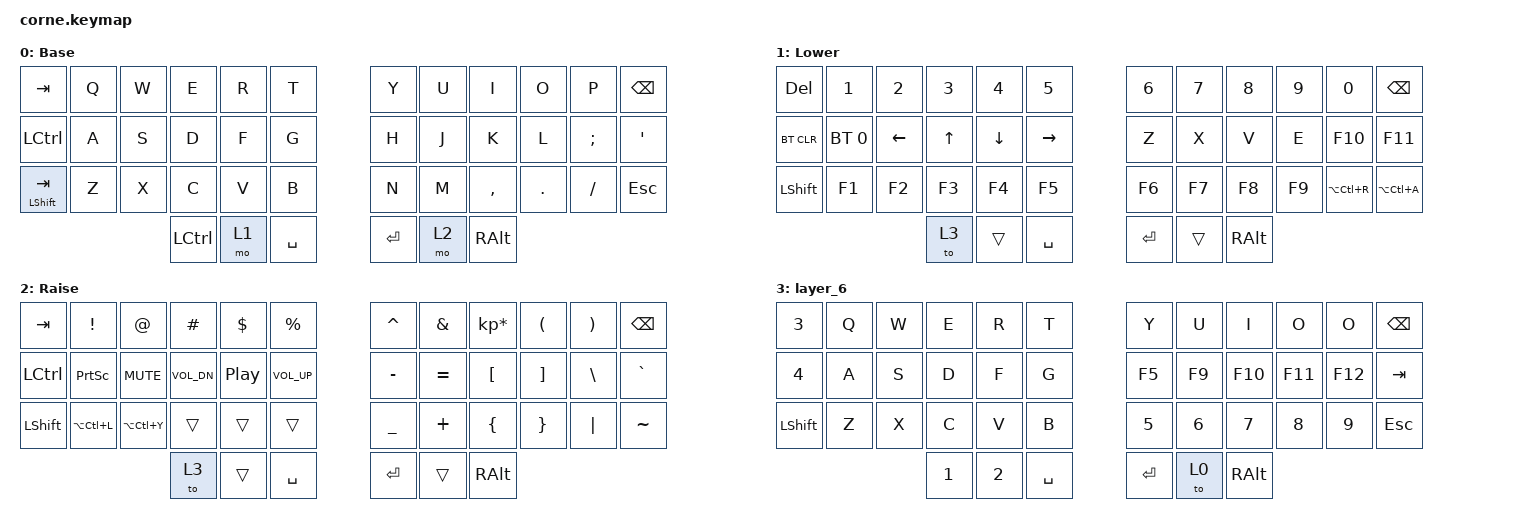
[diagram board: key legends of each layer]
/*
 * Copyright (c) 2020 The ZMK Contributors
 *
 * SPDX-License-Identifier: MIT
 */

#include <behaviors.dtsi>
#include <dt-bindings/zmk/bt.h>
#include <dt-bindings/zmk/keys.h>

/ {
    keymap {
        compatible = "zmk,keymap";

        default_layer {
            // -----------------------------------------------------------------------------------------
            // |  TAB |  Q  |  W  |  E  |  R  |  T  |   |  Y  |  U   |  I  |  O  |  P  | BKSP |
            // | CTRL |  A  |  S  |  D  |  F  |  G  |   |  H  |  J   |  K  |  L  |  ;  |  '   |
            // | SHFT |  Z  |  X  |  C  |  V  |  B  |   |  N  |  M   |  ,  |  .  |  /  | ESC  |
            //                    | GUI | LWR | SPC |   | ENT | RSE  | ALT |

            display-name = "Base";
            bindings = <
&kp TAB        &kp Q  &kp W  &kp E             &kp R  &kp T        &kp Y    &kp U  &kp I      &kp O    &kp P     &kp BSPC
&kp LCTRL      &kp A  &kp S  &kp D             &kp F  &kp G        &kp H    &kp J  &kp K      &kp L    &kp SEMI  &kp SQT
&mt LSHFT TAB  &kp Z  &kp X  &kp C             &kp V  &kp B        &kp N    &kp M  &kp COMMA  &kp DOT  &kp FSLH  &kp ESC
                             &kp LEFT_CONTROL  &mo 1  &kp SPACE    &kp RET  &mo 2  &kp RALT
            >;
        };

        lower_layer {
            // -----------------------------------------------------------------------------------------
            // |  TAB |  1  |  2  |  3  |  4  |  5  |   |  6  |  7  |  8  |  9  |  0  | BKSP |
            // | BTCLR| BT1 | BT2 | BT3 | BT4 | BT5 |   | LFT | DWN |  UP | RGT |     |      |
            // | SHFT |     |     |     |     |     |   |     |     |     |     |     |      |
            //                    | GUI |     | SPC |   | ENT |     | ALT |

            display-name = "Lower";
            bindings = <
&kp DELETE  &kp N1        &kp N2          &kp N3        &kp N4          &kp N5             &kp N6   &kp N7  &kp N8    &kp N9  &kp N0         &kp BSPC
&bt BT_CLR  &bt BT_SEL 0  &kp LEFT_ARROW  &kp UP_ARROW  &kp DOWN_ARROW  &kp RIGHT_ARROW    &kp Z    &kp X   &kp V     &kp E   &kp F10        &kp F11
&kp LSHFT   &kp F1        &kp F2          &kp F3        &kp F4          &kp F5             &kp F6   &kp F7  &kp F8    &kp F9  &kp LA(LC(R))  &kp LA(LC(A))
                                          &to 3         &trans          &kp SPACE          &kp RET  &trans  &kp RALT
            >;
        };

        raise_layer {
            // -----------------------------------------------------------------------------------------
            // |  TAB |  !  |  @  |  #  |  $  |  %  |   |  ^  |  &  |  *  |  (  |  )  | BKSP |
            // | CTRL |     |     |     |     |     |   |  -  |  =  |  [  |  ]  |  \  |  `   |
            // | SHFT |     |     |     |     |     |   |  _  |  +  |  {  |  }  | "|" |  ~   |
            //                    | GUI |     | SPC |   | ENT |     | ALT |

            display-name = "Raise";
            bindings = <
&kp TAB    &kp EXCL         &kp AT         &kp HASH      &kp DLLR          &kp PRCNT       &kp CARET  &kp AMPS   &kp KP_MULTIPLY  &kp LPAR  &kp RPAR  &kp BSPC
&kp LCTRL  &kp PRINTSCREEN  &kp K_MUTE     &kp C_VOL_DN  &kp C_PLAY_PAUSE  &kp C_VOL_UP    &kp MINUS  &kp EQUAL  &kp LBKT         &kp RBKT  &kp BSLH  &kp GRAVE
&kp LSHFT  &kp LA(LC(L))    &kp LA(LC(Y))  &trans        &trans            &trans          &kp UNDER  &kp PLUS   &kp LBRC         &kp RBRC  &kp PIPE  &kp TILDE
                                           &to 3         &trans            &kp SPACE       &kp RET    &trans     &kp RALT
            >;
        };

        layer_6 {
            bindings = <
&kp NUMBER_3    &kp Q  &kp W  &kp E         &kp R         &kp T        &kp Y         &kp U         &kp I          &kp O         &kp O         &kp BACKSPACE
&kp NUMBER_4    &kp A  &kp S  &kp D         &kp F         &kp G        &kp F5        &kp F9        &kp F10        &kp F11       &kp F12       &kp TAB
&kp LEFT_SHIFT  &kp Z  &kp X  &kp C         &kp V         &kp B        &kp NUMBER_5  &kp NUMBER_6  &kp NUMBER_7   &kp NUMBER_8  &kp NUMBER_9  &kp ESCAPE
                              &kp NUMBER_1  &kp NUMBER_2  &kp SPACE    &kp RET       &to 0         &kp RIGHT_ALT
            >;
        };
    };
};
